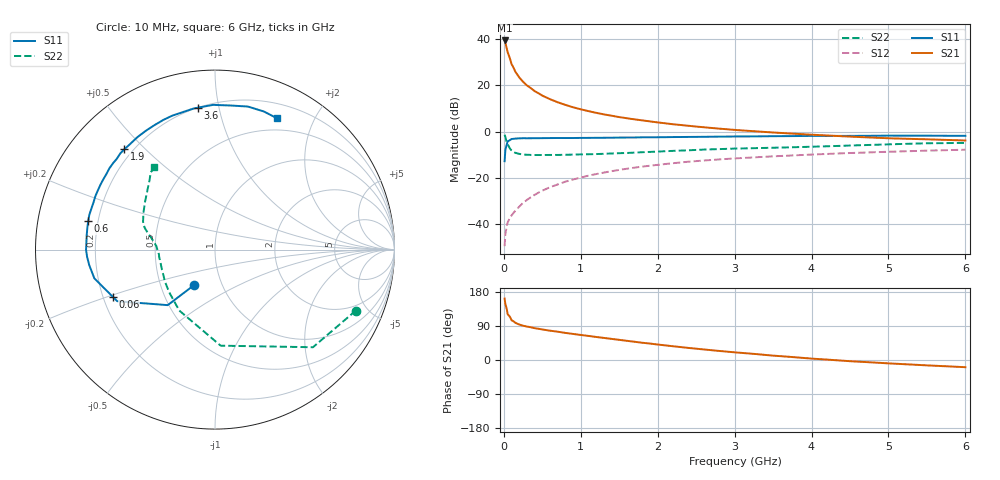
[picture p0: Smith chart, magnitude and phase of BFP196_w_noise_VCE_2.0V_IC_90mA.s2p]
! (c) 2017  Infineon Technologies AG, Munich
! Infineon Technologies  Discrete & RF Semiconductors
! BFP196
! VCE =  2.0 V,  IC =  90 mA
! Common Emitter S-Parameters:  Jan 2017
# GHz  S  MA  R  50
!  f  S11  S21  S12  S22
! GHz  MAG  ANG  MAG  ANG  MAG  ANG  MAG  ANG
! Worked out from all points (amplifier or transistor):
!   77 points, 10 MHz to 6 GHz, reference 50 ohm
!   highest |S21| = 39.2 dB at 10 MHz (marker M1)
!   |S21| within 3 dB of that: start of sweep to 34.8 MHz
!   unconditionally stable (mu >= 1): 335.9 MHz to 2.576 GHz
!   at 130 MHz: K = 0.80, MSG = 31.1 dB, |S12| = -34.9 dB
!   at 2.2 GHz: K = 1.01, MAG = 7.7 dB, |S12| = -13.6 dB
!   at 6 GHz: K = 0.98, MSG = 2.0 dB, |S12| = -7.8 dB
!   lowest NFmin = 1.90 dB at 450 MHz
!   S11 on the Smith chart (normalised r, x): 10 MHz: 0.74, -0.31; 60 MHz: 0.24, -0.21; 600 MHz: 0.16, +0.11; 1.9 GHz: 0.17, +0.43; 3.6 GHz: 0.20, +0.86; 6 GHz: 0.36, +1.51
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0.01  0.2297 -120.5  91.68 162.0  0.0034 76.3  0.8552 -23.4
0.02  0.4064 -130.4  82.12 146.8  0.0062 71.5  0.7707 -44.9
0.05  0.6161 -152.2  50.62 120.6  0.0111 51.6  0.5363 -86.6
0.06  0.6277 -155.3  46 118.7  0.012 53.0  0.4963 -91.7
0.1  0.691 -166.6  28.45 104.8  0.0156 57.0  0.3934 -120.5
0.15  0.7061 -173.0  19.43 98.1  0.0197 62.3  0.3483 -137.3
0.2  0.7138 -176.8  14.7 93.7  0.0241 66.5  0.331 -147.4
0.25  0.7185 -179.9  11.8 90.5  0.0292 67.1  0.3205 -153.9
0.3  0.7175 177.8  9.857 88.2  0.0337 68.9  0.3163 -158.9
0.4  0.7192 173.9  7.437 84.0  0.0432 70.6  0.3126 -164.9
0.5  0.7216 170.3  5.954 80.6  0.0533 70.6  0.3125 -169.3
0.6  0.7242 167.2  4.984 77.4  0.0633 70.1  0.3137 -172.6
0.8  0.7256 161.6  3.751 71.5  0.0834 68.9  0.3165 -177.2
1.1  0.7313 153.3  2.755 63.5  0.1124 65.6  0.3247 177.9
1.5  0.7423 142.5  2.051 53.2  0.1493 59.7  0.3421 172.8
1.9  0.7534 132.1  1.654 43.4  0.1839 53.7  0.3644 169.0
2.1  0.757 127.0  1.505 38.6  0.2001 50.7  0.3772 167.2
3.1  0.7841 105.9  1.058 18.6  0.2694 36.0  0.4333 157.5
3.6  0.7962 97.0  0.934 10.1  0.298 29.7  0.4525 151.3
4.1  0.8056 89.3  0.84 2.4  0.3245 23.4  0.4765 144.4
5.1  0.8166 75.8  0.709 -9.9  0.3712 11.6  0.5361 132.7
6  0.8094 64.9  0.643 -19.0  0.4069 1.6  0.5697 126.4
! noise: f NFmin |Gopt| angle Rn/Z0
0.45  1.9  0.53  -169  0.07
0.9  2.07  0.55  -156  0.11
1.9  2.95  0.71  -129  0.45
2.4  3.36  0.7  -115  0.94
